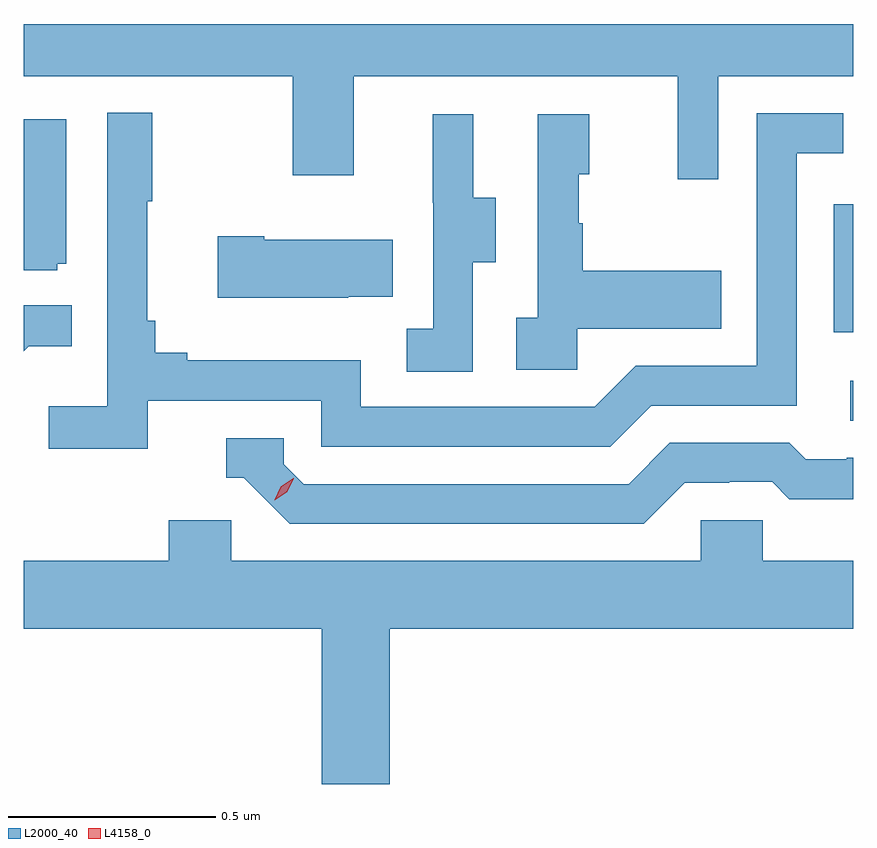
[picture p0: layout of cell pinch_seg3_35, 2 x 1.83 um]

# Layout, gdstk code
import gdstk
lib = gdstk.Library(unit=1e-6, precision=1e-09)
def R(c, l, rs):  # rectangles x0, y0, x1, y1
    for r in rs: c.add(gdstk.rectangle(r[:2], r[2:], *l))
def P(c, l, *ps):  # polygons
    for p in ps: c.add(gdstk.Polygon(p, *l))
L2000_40 = (2000, 40)
L4158_0 = (4158, 0)

pinch_seg3_35 = lib.new_cell('pinch_seg3_35')
R(pinch_seg3_35, L2000_40, [(1089.357,744.042,1089.365,744.138), (1089.318,744.255,1089.365,744.564)])
P(pinch_seg3_35, L2000_40, [(1089.039,744.872),(1089.365,744.872),(1089.365,744.998),(1087.365,744.998),(1087.365,744.872),(1088.014,744.872),(1088.014,744.633),(1088.161,744.633),(1088.161,744.872),(1088.942,744.872),(1088.942,744.624),(1089.039,744.624)],
  [(1087.664,744.09),(1088.082,744.09),(1088.082,743.979),(1088.779,743.979),(1088.878,744.078),(1089.228,744.078),(1089.228,744.687),(1089.341,744.687),(1089.341,744.783),(1089.132,744.783),(1089.132,744.174),(1088.841,744.174),(1088.742,744.075),(1088.178,744.075),(1088.178,744.187),(1087.759,744.187),(1087.759,744.206),(1087.682,744.206),(1087.682,744.283),(1087.663,744.283),(1087.663,744.571),(1087.675,744.571),(1087.675,744.784),(1087.566,744.784),(1087.566,744.076),(1087.425,744.076),(1087.425,743.974),(1087.664,743.974)],
  [(1088.7,744.263),(1089.047,744.263),(1089.047,744.403),(1088.713,744.403),(1088.713,744.518),(1088.703,744.518),(1088.703,744.636),(1088.728,744.636),(1088.728,744.781),(1088.604,744.781),(1088.604,744.29),(1088.553,744.29),(1088.553,744.165),(1088.7,744.165)],
  [(1088.448,744.424),(1088.503,744.424),(1088.503,744.579),(1088.449,744.579),(1088.449,744.781),(1088.351,744.781),(1088.351,744.567),(1088.352,744.567),(1088.352,744.263),(1088.289,744.263),(1088.289,744.16),(1088.448,744.16)],
  [(1087.446,744.42),(1087.468,744.42),(1087.468,744.769),(1087.365,744.769),(1087.365,744.405),(1087.446,744.405)],
  [(1088.147,744.341),(1088.255,744.341),(1088.255,744.478),(1087.945,744.478),(1087.945,744.486),(1087.833,744.486),(1087.833,744.338),(1088.147,744.338)],
  [(1087.377,744.221),(1087.481,744.221),(1087.481,744.32),(1087.365,744.32),(1087.365,744.209)],
  [(1088.959,743.892),(1089.066,743.892),(1089.066,743.895),(1089.169,743.895),(1089.211,743.853),(1089.365,743.853),(1089.365,743.952),(1089.349,743.952),(1089.349,743.949),(1089.25,743.949),(1089.211,743.988),(1088.922,743.988),(1088.823,743.889),(1088.04,743.889),(1087.992,743.937),(1087.992,744),(1087.853,744),(1087.853,743.904),(1087.896,743.904),(1088.007,743.793),(1088.86,743.793)],
  [(1088.248,743.54),(1089.365,743.54),(1089.365,743.704),(1089.147,743.704),(1089.147,743.802),(1088.997,743.802),(1088.997,743.704),(1087.866,743.704),(1087.866,743.802),(1087.715,743.802),(1087.715,743.704),(1087.365,743.704),(1087.365,743.54),(1088.084,743.54),(1088.084,743.166),(1088.248,743.166)])
P(pinch_seg3_35, L4158_0, [(1087.97,743.85),(1087.97,743.851),(1087.985,743.883),(1088.015,743.903),(1088.016,743.903),(1088.016,743.903),(1088,743.87),(1087.97,743.85)])

lib.write_gds('pinch_seg3_35.gds')
